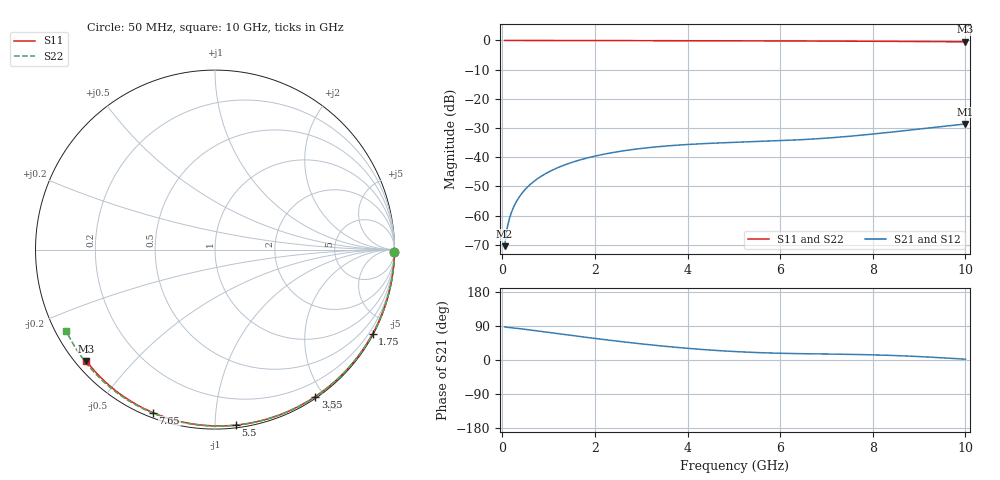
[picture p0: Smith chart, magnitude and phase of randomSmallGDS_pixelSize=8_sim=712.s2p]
! freq	dB(S11)	phase(S11)	dB(S12)	phase(S12)
!  dB(S21)	phase(S21)	dB(S22)	phase(S22)
!S-par simulation data
#  GHz  S  DB  R 50
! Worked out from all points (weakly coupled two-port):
!   200 points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, 50 MHz to 10 GHz, reference 50 ohm
!   highest |S21| = -28.59 dB at 10 GHz (marker M1); lowest = -70.4 dB at 50 MHz (marker M2)
!   lowest |S11| = -0.5 dB at 10 GHz (marker M3), VSWR 37.57, Z = 1.52 - j18.6 ohm
!   |S11| at or under -10 dB: nowhere
!   |S22| runs from -0.5 to 0.0 dB; largest |S21 - S12| = 0
!   S11 on the Smith chart (normalised r, x): 50 MHz: open; 1.75 GHz: 0.04, -3.98; 3.55 GHz: 0.02, -1.89; 5.5 GHz: 0.02, -1.13; 7.65 GHz: 0.02, -0.69; 10 GHz: 0.03, -0.37
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0.05  -0.00 -0.8  -70.43 87.5  -70.43 87.5  -0.00 -0.9
0.1  -0.00 -1.6  -64.60 86.4  -64.60 86.4  -0.00 -1.8
0.15  -0.00 -2.5  -61.18 85.8  -61.18 85.8  -0.00 -2.7
0.2  -0.00 -3.3  -58.75 85.2  -58.75 85.2  -0.00 -3.6
0.25  -0.00 -4.1  -56.84 84.5  -56.84 84.5  -0.00 -4.5
0.35  -0.00 -5.7  -53.96 83.1  -53.96 83.1  -0.00 -6.3
0.5  -0.01 -8.2  -50.91 80.8  -50.91 80.8  -0.01 -9.0
0.7  -0.01 -11.4  -48.04 77.7  -48.04 77.7  -0.01 -12.5
1  -0.02 -16.2  -45.05 72.8  -45.05 72.8  -0.02 -17.9
1.35  -0.03 -21.8  -42.60 67.1  -42.60 67.1  -0.03 -24.0
1.75  -0.04 -28.2  -40.58 60.8  -40.58 60.8  -0.04 -30.9
2.5  -0.05 -39.9  -38.07 49.5  -38.07 49.5  -0.06 -43.7
3.4  -0.07 -53.5  -36.32 37.5  -36.32 37.5  -0.08 -58.6
3.55  -0.08 -55.7  -36.12 35.7  -36.12 35.7  -0.08 -61.0
4.3  -0.10 -66.6  -35.36 27.9  -35.36 27.9  -0.10 -72.8
5.05  -0.12 -77.1  -34.87 22.1  -34.87 22.1  -0.13 -84.1
5.5  -0.14 -83.2  -34.62 19.6  -34.62 19.6  -0.15 -90.7
6.7  -0.19 -98.9  -33.75 16.2  -33.75 16.2  -0.21 -107.7
7.65  -0.25 -110.9  -32.58 14.6  -32.58 14.6  -0.27 -120.5
8.35  -0.30 -119.4  -31.47 12.3  -31.47 12.3  -0.33 -129.8
9.2  -0.38 -129.6  -29.99 7.8  -29.99 7.8  -0.41 -140.9
10  -0.46 -139.1  -28.59 2.1  -28.59 2.1  -0.50 -151.4
